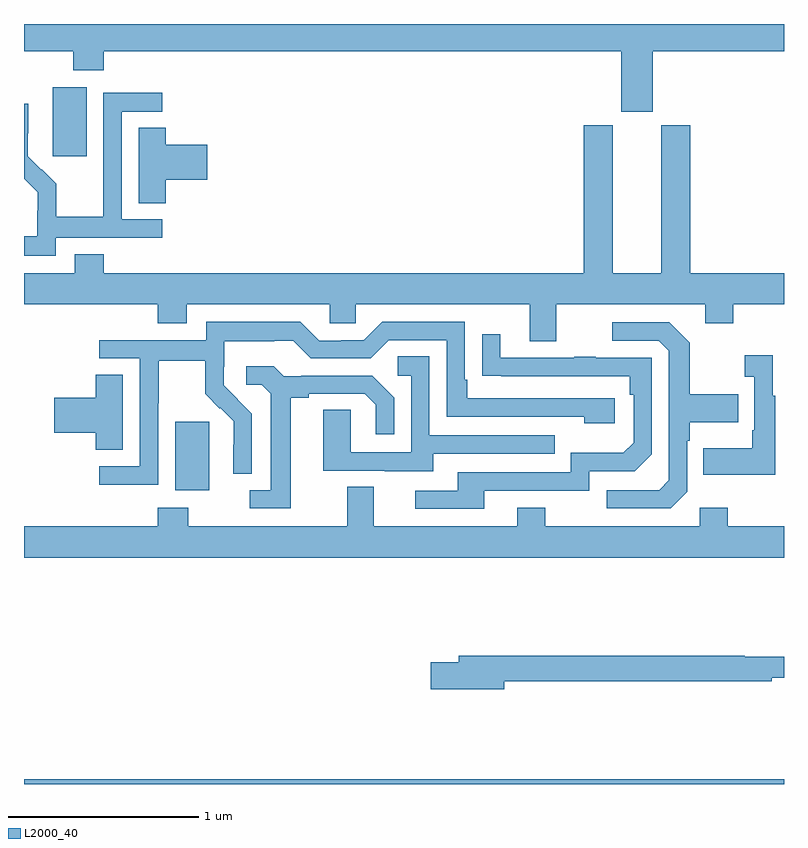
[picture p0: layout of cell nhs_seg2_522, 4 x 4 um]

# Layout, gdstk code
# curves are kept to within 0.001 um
import gdstk
lib = gdstk.Library(unit=1e-6, precision=1e-09)
def R(c, l, rs):  # rectangles x0, y0, x1, y1
    for r in rs: c.add(gdstk.rectangle(r[:2], r[2:], *l))
def P(c, l, *ps):  # polygons
    for p in ps: c.add(gdstk.Polygon(p, *l))
L2000_40 = (2000, 40)

nhs_seg2_522 = lib.new_cell('nhs_seg2_522')
R(nhs_seg2_522, L2000_40, [(137,623.8,141,623.824), (137.795,625.346,137.974,625.707), (137.15,627.105,137.329,627.466)])
P(nhs_seg2_522, L2000_40, [(137,627.656),(137.26,627.656),(137.26,627.557),(137.42,627.557),(137.42,627.656),(140.144,627.656),(140.144,627.339),(140.308,627.339),(140.308,627.656),(141,627.656),(141,627.8),(137,627.8)],
  [(137.166,626.676),(137.728,626.676),(137.728,626.772),(137.514,626.772),(137.514,627.339),(137.728,627.339),(137.728,627.438),(137.418,627.438),(137.418,627.008),(137.416,627.008),(137.416,626.785),(137.171,626.785),(137.171,626.959),(137.094,627.036),(137.091,627.033),(137.021,627.104),(137.022,627.38),(137,627.38),(137,626.986),(137.072,626.914),(137.072,626.817),(137.07,626.817),(137.07,626.683),(137,626.683),(137,626.579),(137.166,626.579)],
  [(137.747,626.981),(137.965,626.981),(137.965,627.164),(137.747,627.164),(137.747,627.254),(137.603,627.254),(137.603,626.857),(137.747,626.857)],
  [(140.507,627.267),(140.354,627.267),(140.354,626.488),(140.098,626.488),(140.098,627.267),(139.946,627.267),(139.946,626.488),(137.42,626.488),(137.42,626.587),(137.267,626.587),(137.267,626.488),(137,626.488),(137,626.324),(137.705,626.324),(137.705,626.225),(137.857,626.225),(137.857,626.324),(138.609,626.324),(138.609,626.226),(138.747,626.226),(138.747,626.324),(139.661,626.324),(139.661,626.13),(139.801,626.13),(139.801,626.324),(140.585,626.324),(140.585,626.225),(140.733,626.225),(140.733,626.324),(141,626.324),(141,626.488),(140.507,626.488)],
  [(137.706,625.804),(137.709,625.804),(137.709,626.028),(137.953,626.028),(137.953,625.853),(138.03,625.776),(138.033,625.779),(138.104,625.709),(138.104,625.586),(138.102,625.586),(138.102,625.432),(138.198,625.432),(138.198,625.75),(138.052,625.898),(138.052,625.995),(138.054,625.995),(138.054,626.129),(138.317,626.129),(138.317,626.133),(138.417,626.133),(138.51,626.04),(138.825,626.04),(138.921,626.136),(139.224,626.136),(139.224,625.734),(139.949,625.734),(139.949,625.7),(140.11,625.7),(140.11,625.83),(139.333,625.83),(139.333,625.927),(139.32,625.927),(139.32,626.232),(138.885,626.232),(138.789,626.136),(138.671,626.136),(138.671,626.133),(138.555,626.133),(138.455,626.233),(137.958,626.233),(137.958,626.136),(137.397,626.136),(137.397,626.04),(137.61,626.04),(137.61,625.473),(137.397,625.473),(137.397,625.375),(137.706,625.375)],
  [(140.49,625.338),(140.49,625.607),(140.503,625.607),(140.503,625.703),(140.759,625.703),(140.759,625.851),(140.503,625.851),(140.503,626.123),(140.397,626.229),(140.097,626.229),(140.097,626.133),(140.34,626.133),(140.394,626.079),(140.394,625.398),(140.343,625.347),(140.067,625.347),(140.067,625.251),(140.403,625.251)],
  [(139.423,625.344),(139.974,625.344),(139.974,625.446),(140.214,625.446),(140.304,625.536),(140.304,626.043),(140.009,626.043),(140.009,626.048),(139.897,626.048),(139.897,626.043),(139.507,626.043),(139.507,626.167),(139.411,626.167),(139.411,625.948),(140.188,625.947),(140.188,625.85),(140.208,625.85),(140.208,625.596),(140.155,625.543),(139.878,625.543),(139.878,625.44),(139.283,625.44),(139.283,625.344),(139.059,625.344),(139.059,625.248),(139.423,625.248)],
  [(140.953,625.843),(140.941,625.843),(140.941,626.056),(140.793,626.056),(140.793,625.943),(140.844,625.943),(140.844,625.663),(140.832,625.663),(140.832,625.567),(140.575,625.567),(140.575,625.427),(140.953,625.427)],
  [(139.153,625.539),(139.793,625.539),(139.793,625.635),(139.134,625.635),(139.134,626.051),(138.966,626.051),(138.966,625.95),(139.038,625.95),(139.038,625.545),(138.72,625.545),(138.72,625.769),(138.575,625.769),(138.575,625.449),(138.899,625.449),(138.899,625.445),(139.153,625.445)],
  [(138.403,625.832),(138.499,625.832),(138.499,625.854),(138.794,625.854),(138.851,625.797),(138.851,625.641),(138.948,625.641),(138.948,625.834),(138.832,625.95),(138.46,625.95),(138.46,625.947),(138.366,625.947),(138.314,625.999),(138.171,625.999),(138.171,625.902),(138.252,625.902),(138.299,625.855),(138.299,625.347),(138.189,625.347),(138.189,625.251),(138.403,625.251)],
  [(137.521,625.955),(137.378,625.955),(137.378,625.832),(137.16,625.832),(137.16,625.649),(137.378,625.649),(137.378,625.558),(137.521,625.558)],
  [(141,625.156),(140.703,625.156),(140.703,625.255),(140.556,625.255),(140.556,625.156),(139.743,625.156),(139.743,625.255),(139.595,625.255),(139.595,625.156),(138.841,625.156),(138.841,625.364),(138.701,625.364),(138.701,625.156),(137.865,625.156),(137.865,625.255),(137.705,625.255),(137.705,625.156),(137,625.156),(137,624.992),(141,624.992)],
  [(139.528,624.34),(140.936,624.34),(140.936,624.359),(141,624.359),(141,624.469),(140.794,624.469),(140.794,624.476),(139.289,624.476),(139.289,624.44),(139.14,624.44),(139.14,624.298),(139.528,624.298)])

lib.write_gds('nhs_seg2_522.gds')
